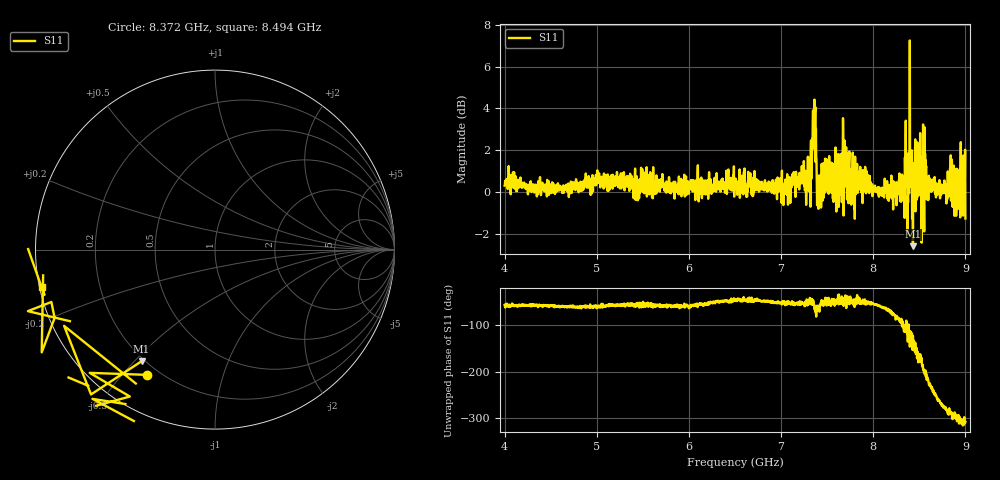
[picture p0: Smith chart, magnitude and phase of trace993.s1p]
! Created with skrf 1.8.0 (http://scikit-rf.org).
# Hz S RI R 50.0
!freq ReS11 ImS11
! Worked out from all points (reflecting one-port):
!   1601 points, 4 GHz to 9 GHz, reference 50 ohm
!   lowest |S11| = -2.6 dB at 8.431 GHz (marker M1), VSWR 6.82, Z = 9.4 - j26.2 ohm
!   phase of S11 starts at -56 deg and turns -252 deg over the sweep
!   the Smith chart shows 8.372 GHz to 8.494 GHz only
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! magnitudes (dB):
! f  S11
! 4 GHz  0.3
! 4.625 GHz  0.0
! 5.25 GHz  0.2
! 5.875 GHz  0.3
! 6.5 GHz  0.5
! 7.038 GHz  0.3
! 7.125 GHz  0.9
! 7.294 GHz  0.6
! 7.356 GHz  3.8
! 7.412 GHz  -0.1
! 7.503 GHz  0.9
! 7.622 GHz  1.5
! 7.669 GHz  1.8
! 7.75 GHz  0.4
! 7.844 GHz  0.7
! 8.097 GHz  0.2
! 8.316 GHz  0.2
! 8.375 GHz  -0.2
! 8.431 GHz  -2.6
! 8.447 GHz  1.4
! 8.459 GHz  -0.9
! 8.497 GHz  1.4
! 8.512 GHz  0.2
! 8.522 GHz  1.3
! 8.606 GHz  0.1
! 8.8 GHz  -0.1
! 8.972 GHz  0.5
! 9 GHz  -1.2
